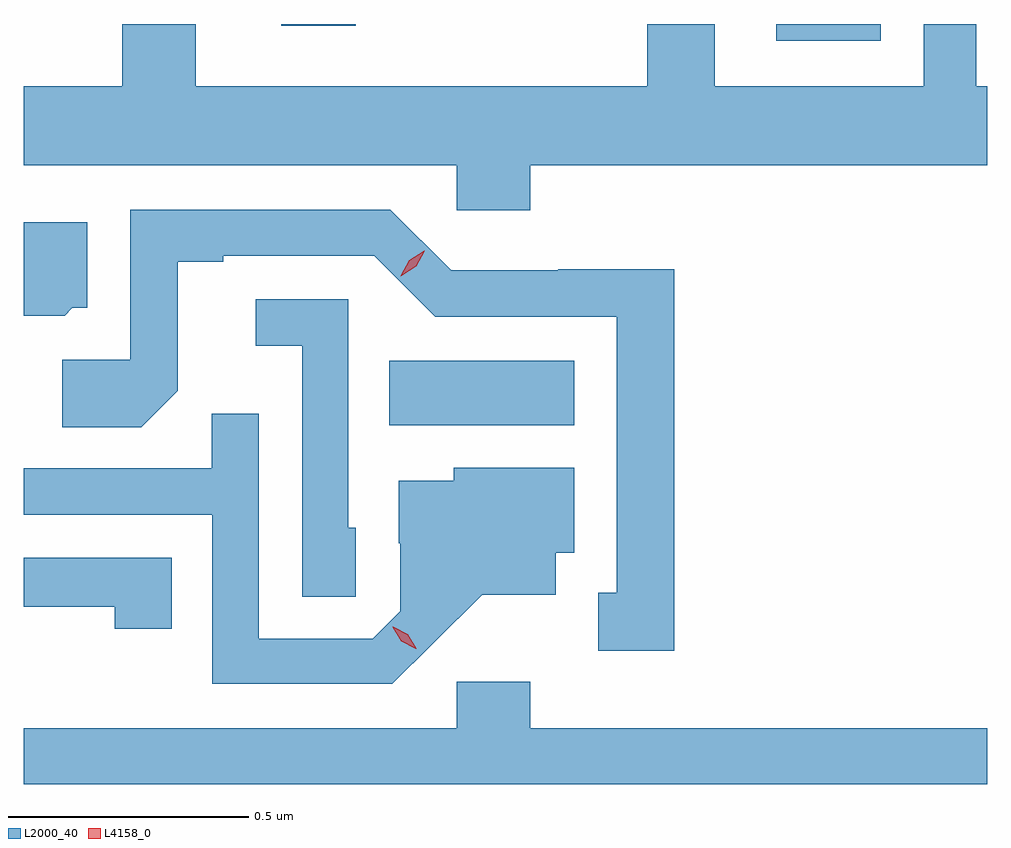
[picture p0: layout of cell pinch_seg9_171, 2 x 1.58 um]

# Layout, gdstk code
import gdstk
lib = gdstk.Library(unit=1e-6, precision=1e-09)
def R(c, l, rs):  # rectangles x0, y0, x1, y1
    for r in rs: c.add(gdstk.rectangle(r[:2], r[2:], *l))
def P(c, l, *ps):  # polygons
    for p in ps: c.add(gdstk.Polygon(p, *l))
L2000_40 = (2000, 40)
L4158_0 = (4158, 0)

pinch_seg9_171 = lib.new_cell('pinch_seg9_171')
R(pinch_seg9_171, L2000_40, [(691.036,1165.244,691.42,1165.378), (691.839,1166.042,692.056,1166.077), (690.812,1166.073,690.966,1166.077)])
P(pinch_seg9_171, L2000_40, [(691.328,1165.784),(692.277,1165.784),(692.277,1165.948),(692.254,1165.948),(692.254,1166.077),(692.145,1166.077),(692.145,1165.948),(691.711,1165.948),(691.711,1166.077),(691.571,1166.077),(691.571,1165.948),(690.634,1165.948),(690.634,1166.077),(690.482,1166.077),(690.482,1165.948),(690.277,1165.948),(690.277,1165.784),(691.176,1165.784),(691.176,1165.691),(691.328,1165.691)],
  [(691.627,1165.568),(691.386,1165.568),(691.386,1165.566),(691.164,1165.566),(691.038,1165.692),(690.498,1165.692),(690.498,1165.38),(690.357,1165.38),(690.357,1165.24),(690.521,1165.24),(690.597,1165.316),(690.597,1165.584),(690.691,1165.584),(690.691,1165.596),(691.005,1165.596),(691.131,1165.47),(691.508,1165.47),(691.508,1164.897),(691.469,1164.897),(691.469,1164.777),(691.627,1164.777)],
  [(690.378,1165.488),(690.409,1165.488),(690.409,1165.666),(690.277,1165.666),(690.277,1165.472),(690.362,1165.472)],
  [(690.966,1165.032),(690.951,1165.032),(690.951,1165.506),(690.759,1165.506),(690.759,1165.409),(690.855,1165.409),(690.855,1164.889),(690.966,1164.889)],
  [(691.126,1164.791),(691.229,1164.893),(691.381,1164.893),(691.381,1164.98),(691.42,1164.98),(691.42,1165.156),(691.17,1165.156),(691.17,1165.129),(691.055,1165.129),(691.055,1165),(691.059,1165),(691.059,1164.858),(691.002,1164.801),(690.765,1164.801),(690.765,1165.268),(690.667,1165.268),(690.667,1165.155),(690.277,1165.155),(690.277,1165.059),(690.669,1165.059),(690.669,1164.708),(691.042,1164.708)],
  [(690.584,1164.969),(690.277,1164.969),(690.277,1164.868),(690.466,1164.868),(690.466,1164.822),(690.584,1164.822)],
  [(692.277,1164.616),(691.328,1164.616),(691.328,1164.712),(691.176,1164.712),(691.176,1164.616),(690.277,1164.616),(690.277,1164.5),(692.277,1164.5)])
P(pinch_seg9_171, L4158_0, [(691.06,1165.554),(691.06,1165.555),(691.077,1165.587),(691.108,1165.607),(691.109,1165.607),(691.109,1165.606),(691.092,1165.574),(691.06,1165.554)],
  [(691.091,1164.781),(691.061,1164.796),(691.043,1164.825),(691.043,1164.826),(691.044,1164.826),(691.074,1164.811),(691.092,1164.782),(691.092,1164.781)])

lib.write_gds('pinch_seg9_171.gds')
